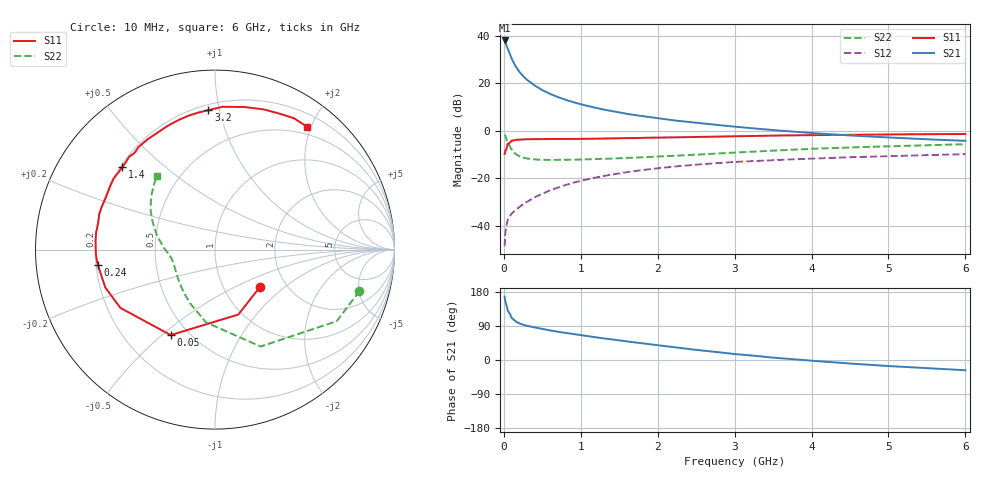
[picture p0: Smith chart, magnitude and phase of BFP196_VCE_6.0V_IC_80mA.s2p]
! Infineon Technologies  Discrete & RF Semiconductors
! BFP196
! VCE = 6.0 V,  IC =  80mA
! Common Emitter S-Parameters:  Jan 2016
# GHz  S  MA  R  50
!  f  S11  S21  S12  S22
! GHz  MAG  ANG  MAG  ANG  MAG  ANG  MAG  ANG
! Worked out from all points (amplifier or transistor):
!   210 points, 10 MHz to 6 GHz, reference 50 ohm
!   highest |S21| = 38.1 dB at 10 MHz (marker M1)
!   |S21| within 3 dB of that: start of sweep to 44.81 MHz
!   unconditionally stable (mu >= 1): 414.5 MHz to 4.841 GHz
!   at 185 MHz: K = 0.78, MSG = 29.1 dB, |S12| = -32.5 dB
!   at 1.52 GHz: K = 1.08, MAG = 11.0 dB, |S12| = -17.8 dB
!   at 6 GHz: K = 0.97, MSG = 2.8 dB, |S12| = -9.8 dB
!   S11 on the Smith chart (normalised r, x): 10 MHz: 1.47, -0.69; 50 MHz: 0.40, -0.53; 240 MHz: 0.21, -0.06; 1.4 GHz: 0.21, +0.37; 3.2 GHz: 0.24, +0.93; 6 GHz: 0.38, +1.94
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0.01  0.3256 -40.1  80.44 167.0  0.0037 77.6  0.8374 -16.0
0.02  0.3845 -70.2  74.14 154.6  0.0071 70.1  0.7867 -30.5
0.05  0.5364 -117.4  54.43 130.3  0.0133 54.2  0.5967 -64.8
0.1  0.6194 -148.4  33.19 111.1  0.0179 49.3  0.4083 -97.1
0.15  0.6464 -160.9  23.18 102.1  0.0213 51.0  0.3289 -115.2
0.2  0.6519 -168.6  17.73 96.7  0.0246 54.5  0.2925 -127.2
0.24  0.6581 -172.7  14.91 93.8  0.0276 56.3  0.2752 -134.4
0.26  0.6607 -174.5  13.75 92.4  0.029 57.3  0.2694 -137.4
0.3  0.6643 -177.9  11.92 90.1  0.0318 59.5  0.2616 -142.1
0.4  0.6676 175.7  9.019 85.6  0.0397 62.2  0.2497 -150.8
0.5  0.669 171.7  7.211 81.9  0.0471 63.8  0.2449 -156.5
0.6  0.6677 167.1  6.018 78.1  0.0556 64.2  0.2438 -160.4
0.7  0.6748 163.0  5.172 74.5  0.0634 64.0  0.2441 -163.4
0.9  0.6733 155.5  4.023 68.5  0.0805 62.6  0.2463 -167.7
1.02  0.6782 151.1  3.567 65.0  0.0897 61.7  0.2488 -169.7
1.4  0.6925 138.4  2.605 54.6  0.1191 57.0  0.2601 -174.7
2.02  0.7206 120.9  1.819 38.6  0.1635 47.8  0.2877 177.1
3.1  0.7732 94.7  1.183 14.0  0.2247 31.6  0.3542 161.1
3.2  0.7778 92.7  1.144 12.3  0.2287 30.1  0.3611 159.7
4.1  0.8131 76.9  0.878 -3.4  0.2632 18.8  0.424 147.7
5.1  0.8407 63.5  0.712 -17.0  0.2957 7.6  0.4766 137.1
6  0.8555 53.1  0.616 -27.0  0.3229 -2.2  0.5222 128.1
